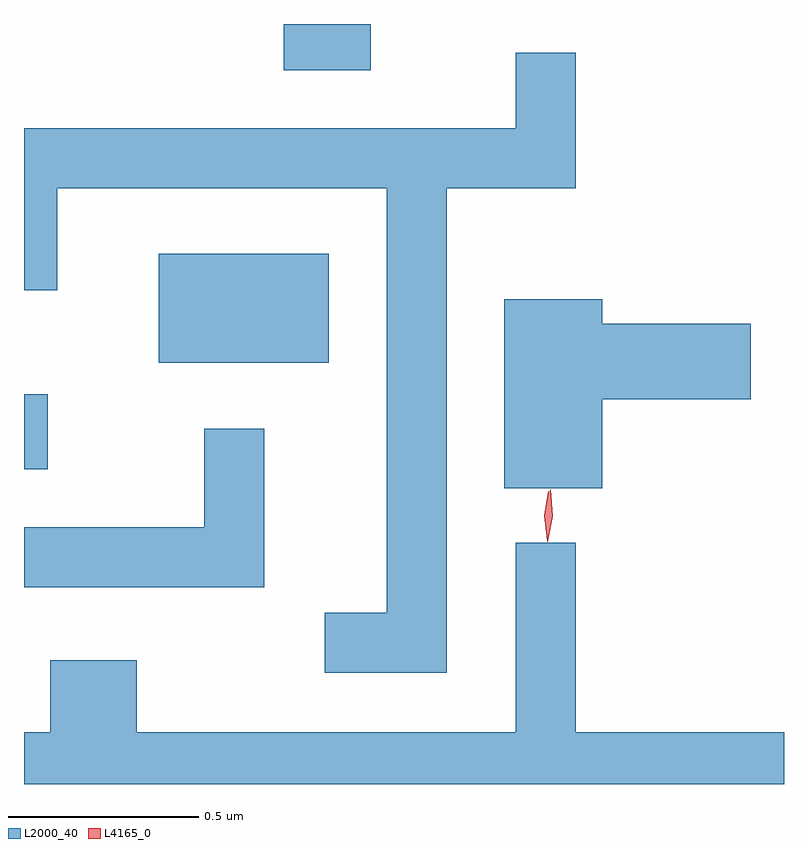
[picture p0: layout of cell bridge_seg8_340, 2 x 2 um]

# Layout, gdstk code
import gdstk
lib = gdstk.Library(unit=1e-6, precision=1e-09)
def R(c, l, rs):  # rectangles x0, y0, x1, y1
    for r in rs: c.add(gdstk.rectangle(r[:2], r[2:], *l))
def P(c, l, *ps):  # polygons
    for p in ps: c.add(gdstk.Polygon(p, *l))
L2000_40 = (2000, 40)
L4165_0 = (4165, 0)

bridge_seg8_340 = lib.new_cell('bridge_seg8_340')
R(bridge_seg8_340, L2000_40, [(869.622,1883.996,869.684,1884.194), (869.976,1884.276,870.424,1884.564), (870.306,1885.046,870.534,1885.168)])
P(bridge_seg8_340, L2000_40, [(870.734,1884.736),(871.074,1884.736),(871.074,1885.093),(870.916,1885.093),(870.916,1884.894),(869.622,1884.894),(869.622,1884.468),(869.709,1884.468),(869.709,1884.736),(870.576,1884.736),(870.576,1883.619),(870.413,1883.619),(870.413,1883.461),(870.734,1883.461)],
  [(871.144,1884.181),(871.534,1884.181),(871.534,1884.379),(871.144,1884.379),(871.144,1884.444),(870.886,1884.444),(870.886,1883.946),(871.144,1883.946)],
  [(870.254,1884.103),(870.096,1884.103),(870.096,1883.844),(869.622,1883.844),(869.622,1883.686),(870.254,1883.686)],
  [(871.622,1883.304),(871.074,1883.304),(871.074,1883.803),(870.916,1883.803),(870.916,1883.304),(869.919,1883.304),(869.919,1883.494),(869.691,1883.494),(869.691,1883.304),(869.622,1883.304),(869.622,1883.168),(871.622,1883.168)])
P(bridge_seg8_340, L4165_0, [(870.999,1883.808),(870.999,1883.808),(870.991,1883.874),(871.002,1883.939),(871.002,1883.939),(871.003,1883.939),(871.011,1883.874),(871,1883.808)],
  [(870.999,1883.805),(870.999,1883.805),(870.993,1883.874),(871.007,1883.942),(871.007,1883.942),(871.008,1883.942),(871.013,1883.873),(871,1883.805)])

lib.write_gds('bridge_seg8_340.gds')
